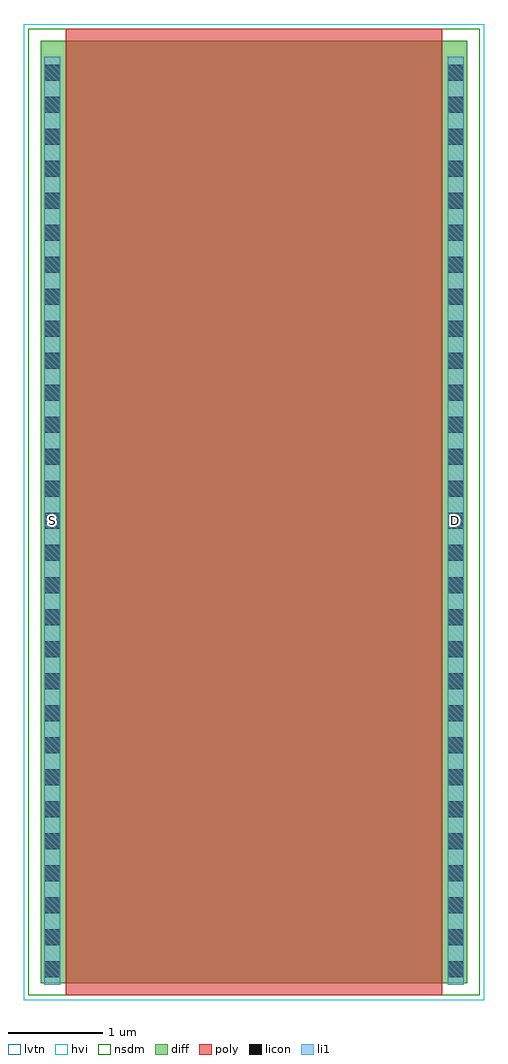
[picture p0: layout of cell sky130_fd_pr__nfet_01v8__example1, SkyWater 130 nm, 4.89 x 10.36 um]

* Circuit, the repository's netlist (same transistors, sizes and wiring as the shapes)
* Copyright 2020 The SkyWater PDK Authors
*
* Licensed under the Apache License, Version 2.0 (the "License");
* you may not use this file except in compliance with the License.
* You may obtain a copy of the License at
*
*     https://www.apache.org/licenses/LICENSE-2.0
*
* Unless required by applicable law or agreed to in writing, software
* distributed under the License is distributed on an "AS IS" BASIS,
* WITHOUT WARRANTIES OR CONDITIONS OF ANY KIND, either express or implied.
* See the License for the specific language governing permissions and
* limitations under the License.
*
* SPDX-License-Identifier: Apache-2.0


* Top level circuit sky130_fd_pr__nfet_01v8__example1
X0 a_800_0# a_0_n26# a_n50_0# SUBS sky130_fd_pr__nfet_05v0_nvt w=1e+07u l=4e+06u
.end

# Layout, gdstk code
from math import pi, radians
import gdstk
lib = gdstk.Library(unit=1e-6, precision=1e-09)
def R(c, l, rs):  # rectangles x0, y0, x1, y1
    for r in rs: c.add(gdstk.rectangle(r[:2], r[2:], *l))
def A(c, l, x, y, w, h, nx, ny, dx, dy):  # array of equal rectangles
    R(c, l, [(x+i*dx, y+j*dy, x+i*dx+w, y+j*dy+h) for i in range(nx) for j in range(ny)])
diff = (65, 20)
poly = (66, 20)
licon = (66, 44)
li1 = (67, 20)
hvi = (75, 20)
nsdm = (93, 44)
lvtn = (125, 44)

sky130_fd_pr__dfl1sd__ex = lib.new_cell('sky130_fd_pr__dfl1sd__example_173913132')
R(sky130_fd_pr__dfl1sd__ex, diff, [(0,0,0.265,10)])
A(sky130_fd_pr__dfl1sd__ex, licon, 0.055, 0.06, 0.17, 0.17, 1, 29, 0, 0.34)
R(sky130_fd_pr__dfl1sd__ex, li1, [(0.055,-0.02,0.225,9.83)])
R(sky130_fd_pr__dfl1sd__ex, nsdm, [(-0.13,-0.13,0.395,10.13)])

sky130_fd_pr__nfet_01v8_ = lib.new_cell('sky130_fd_pr__nfet_01v8__example1')
R(sky130_fd_pr__nfet_01v8_, diff, [(-0.25,0,0,10), (0,0,4,10), (4,0,4.25,10)])
R(sky130_fd_pr__nfet_01v8_, poly, [(0,-0.13,4,0), (0,-0.13,4,10.13), (0,10,4,10.13)])
R(sky130_fd_pr__nfet_01v8_, li1, [(-0.225,-0.02,-0.055,9.83), (4.055,-0.02,4.225,9.83)])
R(sky130_fd_pr__nfet_01v8_, hvi, [(-0.445,-0.18,4.445,10.18)])
R(sky130_fd_pr__nfet_01v8_, nsdm, [(-0.25,-0.13,4.25,10.13)])
R(sky130_fd_pr__nfet_01v8_, lvtn, [(-0.445,-0.18,4.445,10.18)])
sky130_fd_pr__nfet_01v8_.add(gdstk.Reference(sky130_fd_pr__dfl1sd__ex, (4,0)))
sky130_fd_pr__nfet_01v8_.add(gdstk.Reference(sky130_fd_pr__dfl1sd__ex, (0,0), rotation=pi, x_reflection=True))
sky130_fd_pr__nfet_01v8_.add(gdstk.Label('D', (4.14,4.905), layer=83, texttype=44))
sky130_fd_pr__nfet_01v8_.add(gdstk.Label('S', (-0.14,4.905), layer=83, texttype=44))

lib.write_gds('sky130_fd_pr__nfet_01v8__example1.gds')
